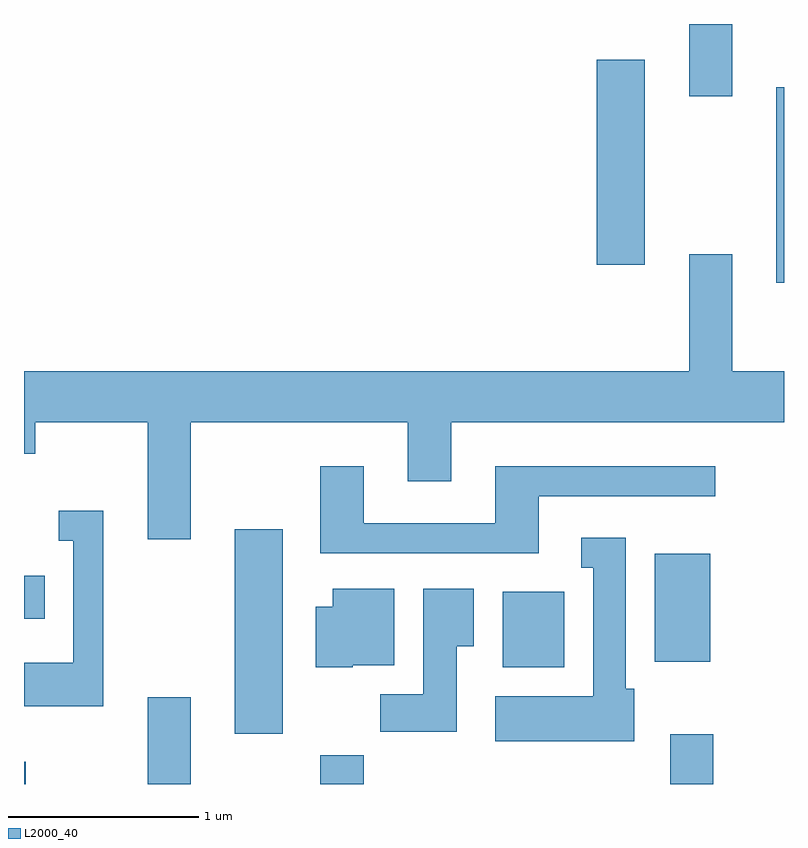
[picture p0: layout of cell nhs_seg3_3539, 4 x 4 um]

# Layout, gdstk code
import gdstk
lib = gdstk.Library(unit=1e-6, precision=1e-09)
def R(c, l, rs):  # rectangles x0, y0, x1, y1
    for r in rs: c.add(gdstk.rectangle(r[:2], r[2:], *l))
def P(c, l, *ps):  # polygons
    for p in ps: c.add(gdstk.Polygon(p, *l))
L2000_40 = (2000, 40)

nhs_seg3_3539 = lib.new_cell('nhs_seg3_3539')
R(nhs_seg3_3539, L2000_40, [(289.611,1121.892,289.619,1122.009), (290.261,1121.892,290.489,1122.349), (291.171,1121.892,291.399,1122.044), (293.011,1121.892,293.239,1122.154), (290.721,1122.156,290.974,1123.234), (292.131,1122.506,292.454,1122.904), (292.931,1122.536,293.224,1123.104), (289.611,1122.761,289.719,1122.989), (293.571,1124.531,293.611,1125.559), (292.626,1124.626,292.879,1125.704), (293.111,1125.511,293.339,1125.892)])
P(nhs_seg3_3539, L2000_40, [(290.489,1123.796),(291.631,1123.796),(291.631,1123.486),(291.859,1123.486),(291.859,1123.796),(293.611,1123.796),(293.611,1124.064),(293.339,1124.064),(293.339,1124.679),(293.111,1124.679),(293.111,1124.064),(289.611,1124.064),(289.611,1123.631),(289.669,1123.631),(289.669,1123.796),(290.261,1123.796),(290.261,1123.181),(290.489,1123.181)],
  [(292.319,1123.406),(293.248,1123.406),(293.248,1123.564),(292.091,1123.564),(292.091,1123.264),(291.399,1123.264),(291.399,1123.564),(291.171,1123.564),(291.171,1123.106),(292.319,1123.106)],
  [(290.029,1123.329),(289.793,1123.329),(289.793,1123.171),(289.871,1123.171),(289.871,1122.529),(289.611,1122.529),(289.611,1122.301),(290.029,1122.301)],
  [(292.824,1122.394),(292.779,1122.394),(292.779,1123.189),(292.543,1123.189),(292.543,1123.031),(292.606,1123.031),(292.606,1122.354),(292.091,1122.354),(292.091,1122.116),(292.824,1122.116)],
  [(291.889,1122.616),(291.979,1122.616),(291.979,1122.919),(291.711,1122.919),(291.711,1122.364),(291.486,1122.364),(291.486,1122.166),(291.889,1122.166)],
  [(291.34,1122.516),(291.559,1122.516),(291.559,1122.919),(291.236,1122.919),(291.236,1122.824),(291.146,1122.824),(291.146,1122.506),(291.34,1122.506)])

lib.write_gds('nhs_seg3_3539.gds')
